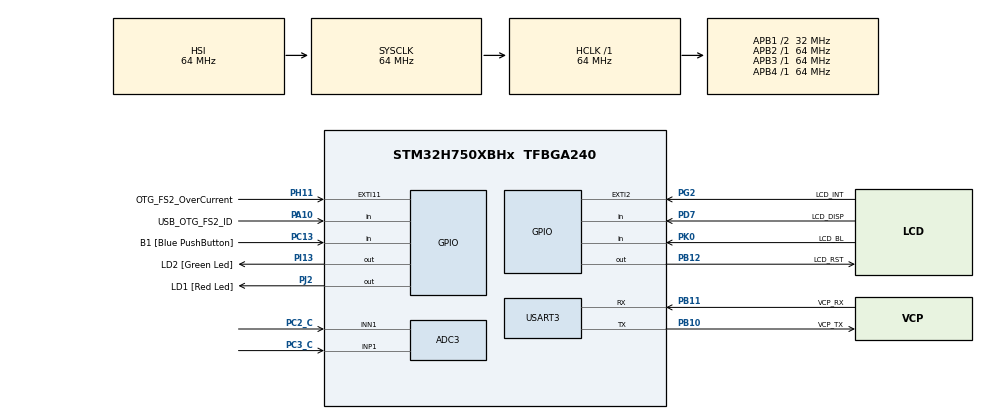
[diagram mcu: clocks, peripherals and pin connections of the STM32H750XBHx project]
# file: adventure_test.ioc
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ADC3.Channel-0\#ChannelRegularConversion=ADC_CHANNEL_1
ADC3.NbrOfConversionFlag=1
ADC3.OffsetNumber-0\#ChannelRegularConversion=ADC_OFFSET_NONE
ADC3.Rank-0\#ChannelRegularConversion=1
ADC3.SamplingTime-0\#ChannelRegularConversion=ADC_SAMPLETIME_1CYCLE_5
ADC3.SingleDiff-0\#ChannelRegularConversion=ADC_DIFFERENTIAL_ENDED
Mcu.Family=STM32H7
Mcu.Name=STM32H750XBHx
Mcu.Package=TFBGA240
NVIC.PriorityGroup=NVIC_PRIORITYGROUP_4
PA0_C.Signal=ADCx_INP0
PA1.GPIO_Label=MII_RX_CLK
PA1.Signal=ETH_RX_CLK
PA10.GPIO_Label=USB_OTG_FS2_ID
PA10.Signal=GPIO_Input
PA11.GPIO_Label=USB_OTG_FS2_N
PA11.Signal=USB_OTG_FS_DM
PA12.GPIO_Label=USB_OTG_FS2_P
PA12.Signal=USB_OTG_FS_DP
PA1_C.Signal=ADCx_INP1
PA2.GPIO_Label=MII_MDIO
PA2.Signal=ETH_MDIO
PA6.Signal=S_TIM13_CH1
PA7.GPIO_Label=MII_RX_DV
PA7.Signal=ETH_RX_DV
PA8.Signal=S_TIM1_CH1
PA9.GPIO_Label=VBUS_FS2
PA9.Signal=USB_OTG_FS_VBUS
PB0.GPIO_Label=MII_RX_D2
PB0.Signal=ETH_RXD2
PB1.GPIO_Label=MII_RX_D3
PB1.Signal=ETH_RXD3
PB10.GPIO_Label=VCP_TX
PB10.Mode=Asynchronous
PB10.Signal=USART3_TX
PB11.GPIO_Label=VCP_RX
PB11.Mode=Asynchronous
PB11.Signal=USART3_RX
PB12.GPIO_Label=LCD_RST
PB12.Signal=GPIO_Output
PB13.GPIO_Label=FDCAN2_TX
PB13.Signal=FDCAN2_TX
PB15.Signal=SPI2_MOSI
PB4\ (NJTRST).Signal=SPI2_NSS
PB5.GPIO_Label=FDCAN2_RX
PB5.Signal=FDCAN2_RX
PB6.Signal=QUADSPI_BK1_NCS
PB8.GPIO_Label=SDIO1_D4
PB8.Signal=SDMMC1_D4
PB9.GPIO_Label=SDIO1_D5
PB9.Signal=SDMMC1_D5
PC0.Signal=ADCx_INP10
PC1.GPIO_Label=MII_MDC
PC1.Signal=ETH_MDC
PC10.GPIO_Label=SDIO1_D2
PC10.Signal=SDMMC1_D2
PC11.GPIO_Label=SDIO1_D3
PC11.Signal=SDMMC1_D3
PC12.GPIO_Label=SDIO1_CK
PC12.Signal=SDMMC1_CK
PC13.GPIO_Label=B1 [Blue PushButton]
PC13.Signal=GPIO_Input
PC14-OSC32_IN\ (OSC32_IN).GPIO_Label=OSC32_IN
PC14-OSC32_IN\ (OSC32_IN).Mode=LSE-External-Clock-Source
PC14-OSC32_IN\ (OSC32_IN).Signal=RCC_OSC32_IN
PC15-OSC32_OUT\ (OSC32_OUT).GPIO_Label=OSC32_OUT
PC15-OSC32_OUT\ (OSC32_OUT).Signal=RCC_OSC32_OUT
PC2.GPIO_Label=MII_TXD2
PC2.Signal=ETH_TXD2
PC2_C.Signal=SharedAnalog_PC2
PC3.GPIO_Label=MII_TX_CLK
PC3.Signal=ETH_TX_CLK
PC3_C.Mode=IN1-Differential
PC3_C.Signal=ADC3_INP1
PC4.GPIO_Label=MII_RXD0
PC4.Signal=ETH_RXD0
PC5.GPIO_Label=MII_RXD1
PC5.Signal=ETH_RXD1
PC6.GPIO_Label=SDIO1_D6
PC6.Signal=SDMMC1_D6
PC7.GPIO_Label=SDIO1_D7
PC7.Signal=SDMMC1_D7
PC8.GPIO_Label=SDIO1_D0
PC8.Signal=SDMMC1_D0
PC9.GPIO_Label=SDIO1_D1
PC9.Signal=SDMMC1_D1
PD0.Signal=FMC_D2_DA2
PD1.Signal=FMC_D3_DA3
PD10.Signal=FMC_D15_DA15
PD11.Signal=QUADSPI_BK1_IO0
PD14.Signal=FMC_D0_DA0
PD15.Signal=FMC_D1_DA1
PD2.GPIO_Label=SDIO1_CMD
PD2.Signal=SDMMC1_CMD
PD3.Signal=SPI2_SCK
PD7.GPIO_Label=LCD_DISP
PD7.Signal=GPIO_Input
PD8.Signal=FMC_D13_DA13
PD9.Signal=FMC_D14_DA14
PE0.Signal=FMC_NBL0
PE1.Signal=FMC_NBL1
PE10.Signal=FMC_D7_DA7
PE11.Signal=FMC_D8_DA8
PE12.Signal=FMC_D9_DA9
PE13.Signal=FMC_D10_DA10
PE14.Signal=FMC_D11_DA11
PE15.Signal=FMC_D12_DA12
PE2.GPIO_Label=MII_TXD3
PE2.Signal=ETH_TXD3
PE4.Signal=SAI4_D2
PE5.Signal=SAI4_CK2
PE7.Signal=FMC_D4_DA4
PE8.Signal=FMC_D5_DA5
PE9.Signal=FMC_D6_DA6
PF0.Signal=FMC_A0
PF1.Signal=FMC_A1
PF10.Signal=QUADSPI_CLK
PF11.Signal=FMC_SDNRAS
PF12.Signal=FMC_A6
PF13.Signal=FMC_A7
PF14.Signal=FMC_A8
PF15.Signal=FMC_A9
PF2.Signal=FMC_A2
PF3.Signal=FMC_A3
PF4.Signal=FMC_A4
PF5.Signal=FMC_A5
PF6.Signal=QUADSPI_BK1_IO3
PF7.Signal=QUADSPI_BK1_IO2
PF8.Signal=ADC3_INP7
PF9.Signal=QUADSPI_BK1_IO1
PG0.Signal=FMC_A10
PG1.Signal=FMC_A11
PG10.Signal=SAI2_SD_B
PG11.GPIO_Label=MII_TX_EN
PG11.Signal=ETH_TX_EN
PG12.GPIO_Label=MII_TXD1
PG12.Signal=ETH_TXD1
PG13.GPIO_Label=MII_TXD0
PG13.Signal=ETH_TXD0
PG15.Signal=FMC_SDNCAS
PG2.GPIO_Label=LCD_INT
PG2.Signal=GPXTI2
PG4.Signal=FMC_A14_BA0
PG5.Signal=FMC_A15_BA1
PG8.Signal=FMC_SDCLK
PH0-OSC_IN\ (PH0).GPIO_Label=OSC_IN
PH0-OSC_IN\ (PH0).Mode=HSE-External-Clock-Source
PH0-OSC_IN\ (PH0).Signal=RCC_OSC_IN
PH1-OSC_OUT\ (PH1).GPIO_Label=OSC_OUT
PH1-OSC_OUT\ (PH1).Signal=RCC_OSC_OUT
PH11.GPIO_Label=OTG_FS2_OverCurrent
PH11.Signal=GPXTI11
PH13.GPIO_Label=FDCAN1_TX
PH13.Signal=FDCAN1_TX
PH14.GPIO_Label=FDCAN1_RX
PH14.Signal=FDCAN1_RX
PH15.Signal=TIM8_CH3N
PH2.GPIO_Label=MII_CRS
PH2.Signal=ETH_CRS
PH3.GPIO_Label=MII_COL
PH3.Signal=ETH_COL
PH5.Signal=FMC_SDNWE
PH6.Signal=FMC_SDNE1
PH7.Signal=FMC_SDCKE1
PH9.Signal=LTDC_R3
PI0.Signal=LTDC_G5
PI1.Signal=LTDC_G6
PI10.GPIO_Label=MII_RX_ER
PI10.Signal=ETH_RX_ER
PI12.Signal=LTDC_HSYNC
PI13.GPIO_Label=LD2 [Green Led]
PI13.Signal=GPIO_Output
PI14.Signal=LTDC_CLK
PI15.Signal=LTDC_R0
PI2.Signal=SPI2_MISO
PI4.Signal=SAI2_MCLK_A
PI5.Signal=SAI2_SCK_A
PI6.Signal=SAI2_SD_A
PI7.Signal=SAI2_FS_A
PI9.Signal=LTDC_VSYNC
PJ0.Signal=LTDC_R1
PJ1.Signal=LTDC_R2
PJ10.Signal=LTDC_G3
PJ11.Signal=LTDC_G4
PJ12.Signal=LTDC_B0
PJ13.Signal=LTDC_B1
PJ14.Signal=LTDC_B2
PJ15.GPIO_Label=LCD_DISP
PJ15.Signal=LTDC_B3
PJ2.GPIO_Label=LD1 [Red Led]
PJ2.Signal=GPIO_Output
PJ3.Signal=LTDC_R4
PJ4.Signal=LTDC_R5
PJ5.Signal=LTDC_R6
PJ6.Signal=LTDC_R7
PJ7.Signal=LTDC_G0
PJ8.Signal=LTDC_G1
PJ9.Signal=LTDC_G2
PK0.GPIO_Label=LCD_BL
PK0.Signal=GPIO_Input
PK2.Signal=LTDC_G7
PK3.Signal=LTDC_B4
PK4.Signal=LTDC_B5
PK5.Signal=LTDC_B6
PK6.Signal=LTDC_B7
PK7.Signal=LTDC_DE
ProjectManager.HeapSize=0x200
ProjectManager.StackSize=0x400
ProjectManager.TargetToolchain=STM32CubeIDE
RCC.ADCFreq_Value=37500000
RCC.APB1Freq_Value=32000000
RCC.APB2Freq_Value=64000000
RCC.APB3Freq_Value=64000000
RCC.APB4Freq_Value=64000000
RCC.CortexFreq_Value=64000000
RCC.D2PPRE1=RCC_APB1_DIV2
RCC.DIVM1=22
RCC.DIVM2=2
RCC.DIVN1=169
RCC.DIVN2=12
RCC.DIVP2=4
RCC.DIVQ1=4
RCC.HCLKFreq_Value=64000000
RCC.PLL2FRACN=0
RCC.PLL3FRACN=0
RCC.PLLFRACN=0
RCC.PLLSourceVirtual=RCC_PLLSOURCE_HSE
RCC.SYSCLKFreq_VALUE=64000000
RCC.USBFreq_Value=48011363.63636364
SH.ADCx_INP0.0=ADC1_INP0
SH.ADCx_INP0.1=ADC2_INP0
SH.ADCx_INP1.0=ADC1_INP1
SH.ADCx_INP1.1=ADC2_INP1
SH.ADCx_INP10.0=ADC1_INP10
SH.ADCx_INP10.1=ADC3_INP10
SH.FMC_A0.0=FMC_A0
SH.FMC_A1.0=FMC_A1
SH.FMC_A10.0=FMC_A10
SH.FMC_A11.0=FMC_A11
SH.FMC_A14_BA0.0=FMC_BA0
SH.FMC_A15_BA1.0=FMC_BA1
SH.FMC_A2.0=FMC_A2
SH.FMC_A3.0=FMC_A3
SH.FMC_A4.0=FMC_A4
SH.FMC_A5.0=FMC_A5
SH.FMC_A6.0=FMC_A6
SH.FMC_A7.0=FMC_A7
SH.FMC_A8.0=FMC_A8
SH.FMC_A9.0=FMC_A9
SH.FMC_D0_DA0.0=FMC_D0
SH.FMC_D10_DA10.0=FMC_D10
SH.FMC_D11_DA11.0=FMC_D11
SH.FMC_D12_DA12.0=FMC_D12
SH.FMC_D13_DA13.0=FMC_D13
SH.FMC_D14_DA14.0=FMC_D14
SH.FMC_D15_DA15.0=FMC_D15
SH.FMC_D1_DA1.0=FMC_D1
SH.FMC_D2_DA2.0=FMC_D2
SH.FMC_D3_DA3.0=FMC_D3
SH.FMC_D4_DA4.0=FMC_D4
SH.FMC_D5_DA5.0=FMC_D5
SH.FMC_D6_DA6.0=FMC_D6
SH.FMC_D7_DA7.0=FMC_D7
SH.FMC_D8_DA8.0=FMC_D8
SH.FMC_D9_DA9.0=FMC_D9
SH.FMC_NBL0.0=FMC_NBL0
SH.FMC_NBL1.0=FMC_NBL1
SH.FMC_SDCLK.0=FMC_SDCLK
SH.FMC_SDNCAS.0=FMC_SDNCAS
SH.FMC_SDNRAS.0=FMC_SDNRAS
SH.FMC_SDNWE.0=FMC_SDNWE
SH.S_TIM13_CH1.0=TIM13_CH1
SH.S_TIM1_CH1.0=TIM1_CH1
SH.SharedAnalog_PC2.0=ADC3_INP0
SH.SharedAnalog_PC2.1=ADC3_INN1,IN1-Differential
USART3.VirtualMode-Asynchronous=VM_ASYNC
board=STM32H750B-DK

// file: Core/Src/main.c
/* USER CODE BEGIN Header */
/**
  ******************************************************************************
  * @file           : main.c
  * @brief          : Main program body
  ******************************************************************************
  * @attention
  *
  * Copyright (c) 2024 STMicroelectronics.
  * All rights reserved.
  *
  * This software is licensed under terms that can be found in the LICENSE file
  * in the root directory of this software component.
  * If no LICENSE file comes with this software, it is provided AS-IS.
  *
  ******************************************************************************
  */
/* USER CODE END Header */
#include "main.h"

/* USER CODE BEGIN Includes */
#include <stdio.h>
#include <string.h>

/* USER CODE END Includes */

/* USER CODE BEGIN PD */

// Définition des constantes pour les directions
#define NORTH 1
#define EAST  2
#define SOUTH 4
#define WEST  8

/* USER CODE END PD */

ADC_HandleTypeDef hadc3;

UART_HandleTypeDef huart3;

void SystemClock_Config(void);
static void MX_GPIO_Init(void);
static void MX_ADC3_Init(void);
static void MX_USART3_UART_Init(void);
/* USER CODE BEGIN PFP */
void command_callback(char *);

/* USER CODE END PFP */

/* USER CODE BEGIN 0 */

// Initialisation de la position de départ
int ligne = 0;
int colonne = 3;

// Initialisation de la grille et des valeurs associées
int grille[5][8] = {
    {0, SOUTH, WEST | SOUTH, SOUTH, 0, SOUTH | EAST, EAST | WEST | SOUTH, WEST | SOUTH}, // Ok
    {SOUTH | EAST , WEST | EAST, NORTH | SOUTH | WEST | EAST, SOUTH | EAST | NORTH, SOUTH, NORTH | SOUTH | EAST, NORTH | WEST |EAST, SOUTH},
    {SOUTH, EAST | NORTH, WEST | NORTH | SOUTH, SOUTH | EAST | NORTH, NORTH | SOUTH | WEST | EAST, NORTH | WEST, NORTH | SOUTH, NORTH | SOUTH},
    {SOUTH | EAST | NORTH, EAST | NORTH | WEST, NORTH | EAST | SOUTH, SOUTH | WEST, SOUTH | EAST | WEST, NORTH | SOUTH | WEST, NORTH | SOUTH | WEST, NORTH | SOUTH},
    {NORTH | EAST, WEST, NORTH | WEST, NORTH | EAST, NORTH | EAST | WEST, NORTH | EAST | WEST, NORTH | EAST, NORTH | WEST}
};

char valeurs[5][8] = {
    {'_', 'v', 'b', '_', '_', 'n', '#', 'e'},
    {'u', 't', 'x', 'a', 'z', 'r', 'y', 'i'},
    {'o', 'p', 'l', 'q', '2', 'f', '0', '6'},
    {'9', '8', '1', 's', '3', 'g', '5', '7'},
    {'w', 'm', 'j', 'd', 'c', 'h', 'k', '4'}
};

char str[64] = "\0"; //pour construir des chaînes de char à envoyer
int compteur_temp = 0;
char chaine_temporaire[64] = "\0"; //la chaine temporaire qui va etre construite au fur et a mesure de la sequence

char buffer[32] = "\0";
char car;

// Fonction pour interpreter une actions
void command_callback(char* action) {
	HAL_UART_Transmit(&huart3, (uint8_t *)action, strlen(action), HAL_MAX_DELAY);
    if (strcmp(*action, 'g') == 0) {
        action += 3;
		if (*action == 'n') {
				if ((grille[ligne][colonne] & NORTH) > 0 ) {
					ligne--;
				//	sprintf(str,"moove North\n");
				//	HAL_UART_Transmit(&huart3, (uint8_t *)str, strlen(str), HAL_MAX_DELAY);
				}
		} else if (*action == 'e') {
				if ((grille[ligne][colonne] & EAST) > 0 ) {
					colonne++;
				//	sprintf(str,"moove East\n");
				//	HAL_UART_Transmit(&huart3, (uint8_t *)str, strlen(str), HAL_MAX_DELAY);
				}
		} else if (*action == 's') {
				if ((grille[ligne][colonne] & SOUTH) > 0 ){
					ligne++;
				//	sprintf(str,"moove South\n");
				//	HAL_UART_Transmit(&huart3, (uint8_t *)str, strlen(str), HAL_MAX_DELAY);
				}
		} else if (*action == 'w') {
				if ((grille[ligne][colonne] & WEST) > 0 ) {
					colonne--;
				//	sprintf(str,"moove West\n");
				//	HAL_UART_Transmit(&huart3, (uint8_t *)str, strlen(str), HAL_MAX_DELAY);
				}
		}
    } else if (*action == 'c') {
        action += 9;
		char c = valeurs[ligne][colonne];
		if (*action == 'i') {
			chaine_temporaire[compteur_temp] = c;
			compteur_temp++;
		//	sprintf(str,"Item collected: %c\n", c);
		//	HAL_UART_Transmit(&huart3, (uint8_t *)str, strlen(str), HAL_MAX_DELAY);

		} else if (*action == 'a') {
			chaine_temporaire[compteur_temp] = toupper(c);
			compteur_temp++;
	//		sprintf(str,"Item collected: %c\n", c);
		//	HAL_UART_Transmit(&huart3, (uint8_t *)str, strlen(str), HAL_MAX_DELAY);
	   // 	sprintf(str,"Chaine temporaire : %s\n", chaine_temporaire);
	   // 	HAL_UART_Transmit(&huart3, (uint8_t *)str, strlen(str), HAL_MAX_DELAY);

		}
    } else if (*action == 'u') {

    //	sprintf(str,"Chaine temporaire avant use : %s\n", chaine_temporaire);
    //	HAL_UART_Transmit(&huart3, (uint8_t *)str, strlen(str), HAL_MAX_DELAY);
    //	sprintf(str,"Chaine finale avant use : %s\n", chaine_final);
   // 	HAL_UART_Transmit(&huart3, (uint8_t *)str, strlen(str), HAL_MAX_DELAY);

    	compteur_temp--;
    	chaine_temporaire[compteur_temp] = '\0';

    //	HAL_UART_Transmit(&huart3, (uint8_t *)str, strlen(str), HAL_MAX_DELAY);
    //	sprintf(str,"Chaine temporaire actuelle : %s\n", chaine_temporaire);
    //	HAL_UART_Transmit(&huart3, (uint8_t *)str, strlen(str), HAL_MAX_DELAY);
   // 	sprintf(str,"Chaine finale actuelle : %s\n", chaine_final);
    ///	HAL_UART_Transmit(&huart3, (uint8_t *)str, strlen(str), HAL_MAX_DELAY);

    } else if (*action == 'd') {

    	HAL_UART_Transmit(&huart3, (uint8_t *)chaine_temporaire, strlen(chaine_temporaire), HAL_MAX_DELAY);

    }
}

/* USER CODE END 0 */

int main(void)
{

  /* MCU Configuration--------------------------------------------------------*/

  /* Reset of all peripherals, Initializes the Flash interface and the Systick. */
  HAL_Init();

  /* Configure the system clock */
  SystemClock_Config();

  /* Initialize all configured peripherals */
  MX_GPIO_Init();
  MX_ADC3_Init();
  MX_USART3_UART_Init();
  /* USER CODE BEGIN 2 */

  //HAL_UART_Transmit(&huart3, (uint8_t *)"Beginning...\n", strlen("Beginning...\n"), HAL_MAX_DELAY);

	sprintf(str,"Beginning...\n");
	HAL_UART_Transmit(&huart3, (uint8_t *)str, strlen(str), HAL_MAX_DELAY);

	memset(buffer, 0, sizeof(buffer));

	int compteur = 0;

  /* USER CODE END 2 */

  /* Infinite loop */
  /* USER CODE BEGIN WHILE */
  while (1)
  {
	if (HAL_UART_Receive(&huart3, (uint8_t *)&car, 1, 100) == HAL_OK){
		//HAL_UART_Transmit(&huart3, (uint8_t *)&car, 1, HAL_MAX_DELAY);
		buffer[compteur] = tolower(car);
		compteur++;
		if (car == '\n' || car == '\r'){
			command_callback(buffer);
			memset(buffer, 0, sizeof(buffer));
			compteur = 0;
		}
	}
    /* USER CODE END WHILE */

  }
}

void SystemClock_Config(void)
{
  RCC_OscInitTypeDef RCC_OscInitStruct = {0};
  RCC_ClkInitTypeDef RCC_ClkInitStruct = {0};

  /** Supply configuration update enable
  */
  HAL_PWREx_ConfigSupply(PWR_LDO_SUPPLY);

  /** Configure the main internal regulator output voltage
  */
  __HAL_PWR_VOLTAGESCALING_CONFIG(PWR_REGULATOR_VOLTAGE_SCALE3);

  while(!__HAL_PWR_GET_FLAG(PWR_FLAG_VOSRDY)) {}

  /** Macro to configure the PLL clock source
  */
  __HAL_RCC_PLL_PLLSOURCE_CONFIG(RCC_PLLSOURCE_HSE);

  /** Initializes the RCC Oscillators according to the specified parameters
  * in the RCC_OscInitTypeDef structure.
  */
  RCC_OscInitStruct.OscillatorType = RCC_OSCILLATORTYPE_HSI|RCC_OSCILLATORTYPE_HSE;
  RCC_OscInitStruct.HSEState = RCC_HSE_BYPASS;
  RCC_OscInitStruct.HSIState = RCC_HSI_DIV1;
  RCC_OscInitStruct.HSICalibrationValue = RCC_HSICALIBRATION_DEFAULT;
  RCC_OscInitStruct.PLL.PLLState = RCC_PLL_NONE;
  if (HAL_RCC_OscConfig(&RCC_OscInitStruct) != HAL_OK)
  {
    Error_Handler();
  }

  /** Initializes the CPU, AHB and APB buses clocks
  */
  RCC_ClkInitStruct.ClockType = RCC_CLOCKTYPE_HCLK|RCC_CLOCKTYPE_SYSCLK
                              |RCC_CLOCKTYPE_PCLK1|RCC_CLOCKTYPE_PCLK2
                              |RCC_CLOCKTYPE_D3PCLK1|RCC_CLOCKTYPE_D1PCLK1;
  RCC_ClkInitStruct.SYSCLKSource = RCC_SYSCLKSOURCE_HSI;
  RCC_ClkInitStruct.SYSCLKDivider = RCC_SYSCLK_DIV1;
  RCC_ClkInitStruct.AHBCLKDivider = RCC_HCLK_DIV1;
  RCC_ClkInitStruct.APB3CLKDivider = RCC_APB3_DIV1;
  RCC_ClkInitStruct.APB1CLKDivider = RCC_APB1_DIV2;
  RCC_ClkInitStruct.APB2CLKDivider = RCC_APB2_DIV1;
  RCC_ClkInitStruct.APB4CLKDivider = RCC_APB4_DIV1;

  if (HAL_RCC_ClockConfig(&RCC_ClkInitStruct, FLASH_LATENCY_1) != HAL_OK)
  {
    Error_Handler();
  }
}

static void MX_ADC3_Init(void)
{

  ADC_ChannelConfTypeDef sConfig = {0};

  /** Common config
  */
  hadc3.Instance = ADC3;
  hadc3.Init.Resolution = ADC_RESOLUTION_16B;
  hadc3.Init.ScanConvMode = ADC_SCAN_DISABLE;
  hadc3.Init.EOCSelection = ADC_EOC_SINGLE_CONV;
  hadc3.Init.LowPowerAutoWait = DISABLE;
  hadc3.Init.ContinuousConvMode = DISABLE;
  hadc3.Init.NbrOfConversion = 1;
  hadc3.Init.DiscontinuousConvMode = DISABLE;
  hadc3.Init.ExternalTrigConv = ADC_SOFTWARE_START;
  hadc3.Init.ExternalTrigConvEdge = ADC_EXTERNALTRIGCONVEDGE_NONE;
  hadc3.Init.ConversionDataManagement = ADC_CONVERSIONDATA_DR;
  hadc3.Init.Overrun = ADC_OVR_DATA_PRESERVED;
  hadc3.Init.LeftBitShift = ADC_LEFTBITSHIFT_NONE;
  hadc3.Init.OversamplingMode = DISABLE;
  if (HAL_ADC_Init(&hadc3) != HAL_OK)
  {
    Error_Handler();
  }

  /** Configure Regular Channel
  */
  sConfig.Channel = ADC_CHANNEL_1;
  sConfig.Rank = ADC_REGULAR_RANK_1;
  sConfig.SamplingTime = ADC_SAMPLETIME_1CYCLE_5;
  sConfig.SingleDiff = ADC_DIFFERENTIAL_ENDED;
  sConfig.OffsetNumber = ADC_OFFSET_NONE;
  sConfig.Offset = 0;
  sConfig.OffsetSignedSaturation = DISABLE;
  if (HAL_ADC_ConfigChannel(&hadc3, &sConfig) != HAL_OK)
  {
    Error_Handler();
  }

}

static void MX_USART3_UART_Init(void)
{

  huart3.Instance = USART3;
  huart3.Init.BaudRate = 115200;
  huart3.Init.WordLength = UART_WORDLENGTH_8B;
  huart3.Init.StopBits = UART_STOPBITS_1;
  huart3.Init.Parity = UART_PARITY_NONE;
  huart3.Init.Mode = UART_MODE_TX_RX;
  huart3.Init.HwFlowCtl = UART_HWCONTROL_NONE;
  huart3.Init.OverSampling = UART_OVERSAMPLING_16;
  huart3.Init.OneBitSampling = UART_ONE_BIT_SAMPLE_DISABLE;
  huart3.Init.ClockPrescaler = UART_PRESCALER_DIV1;
  huart3.AdvancedInit.AdvFeatureInit = UART_ADVFEATURE_NO_INIT;
  if (HAL_UART_Init(&huart3) != HAL_OK)
  {
    Error_Handler();
  }
  if (HAL_UARTEx_SetTxFifoThreshold(&huart3, UART_TXFIFO_THRESHOLD_1_8) != HAL_OK)
  {
    Error_Handler();
  }
  if (HAL_UARTEx_SetRxFifoThreshold(&huart3, UART_RXFIFO_THRESHOLD_1_8) != HAL_OK)
  {
    Error_Handler();
  }
  if (HAL_UARTEx_DisableFifoMode(&huart3) != HAL_OK)
  {
    Error_Handler();
  }

}

static void MX_GPIO_Init(void)
{
  GPIO_InitTypeDef GPIO_InitStruct = {0};

  /* GPIO Ports Clock Enable */
  __HAL_RCC_GPIOI_CLK_ENABLE();
  __HAL_RCC_GPIOB_CLK_ENABLE();
  __HAL_RCC_GPIOK_CLK_ENABLE();
  __HAL_RCC_GPIOG_CLK_ENABLE();
  __HAL_RCC_GPIOC_CLK_ENABLE();
  __HAL_RCC_GPIOE_CLK_ENABLE();
  __HAL_RCC_GPIOJ_CLK_ENABLE();
  __HAL_RCC_GPIOD_CLK_ENABLE();
  __HAL_RCC_GPIOH_CLK_ENABLE();
  __HAL_RCC_GPIOA_CLK_ENABLE();
  __HAL_RCC_GPIOF_CLK_ENABLE();

  /*Configure GPIO pin Output Level */
  HAL_GPIO_WritePin(LD2_GPIO_Port, LD2_Pin, GPIO_PIN_RESET);

  /*Configure GPIO pin Output Level */
  HAL_GPIO_WritePin(LD1_GPIO_Port, LD1_Pin, GPIO_PIN_RESET);

  /*Configure GPIO pin Output Level */
  HAL_GPIO_WritePin(LCD_RST_GPIO_Port, LCD_RST_Pin, GPIO_PIN_RESET);

  /*Configure GPIO pins : PI6 PI5 PI4 PI7 */
  GPIO_InitStruct.Pin = GPIO_PIN_6|GPIO_PIN_5|GPIO_PIN_4|GPIO_PIN_7;
  GPIO_InitStruct.Mode = GPIO_MODE_AF_PP;
  GPIO_InitStruct.Pull = GPIO_NOPULL;
  GPIO_InitStruct.Speed = GPIO_SPEED_FREQ_LOW;
  GPIO_InitStruct.Alternate = GPIO_AF10_SAI2;
  HAL_GPIO_Init(GPIOI, &GPIO_InitStruct);

  /*Configure GPIO pins : FDCAN2_RX_Pin FDCAN2_TX_Pin */
  GPIO_InitStruct.Pin = FDCAN2_RX_Pin|FDCAN2_TX_Pin;
  GPIO_InitStruct.Mode = GPIO_MODE_AF_PP;
  GPIO_InitStruct.Pull = GPIO_NOPULL;
  GPIO_InitStruct.Speed = GPIO_SPEED_FREQ_LOW;
  GPIO_InitStruct.Alternate = GPIO_AF9_FDCAN2;
  HAL_GPIO_Init(GPIOB, &GPIO_InitStruct);

  /*Configure GPIO pins : PK5 PK4 PK6 PK3
                           PK7 PK2 */
  GPIO_InitStruct.Pin = GPIO_PIN_5|GPIO_PIN_4|GPIO_PIN_6|GPIO_PIN_3
                          |GPIO_PIN_7|GPIO_PIN_2;
  GPIO_InitStruct.Mode = GPIO_MODE_AF_PP;
  GPIO_InitStruct.Pull = GPIO_NOPULL;
  GPIO_InitStruct.Speed = GPIO_SPEED_FREQ_LOW;
  GPIO_InitStruct.Alternate = GPIO_AF14_LTDC;
  HAL_GPIO_Init(GPIOK, &GPIO_InitStruct);

  /*Configure GPIO pin : PG10 */
  GPIO_InitStruct.Pin = GPIO_PIN_10;
  GPIO_InitStruct.Mode = GPIO_MODE_AF_PP;
  GPIO_InitStruct.Pull = GPIO_NOPULL;
  GPIO_InitStruct.Speed = GPIO_SPEED_FREQ_LOW;
  GPIO_InitStruct.Alternate = GPIO_AF10_SAI2;
  HAL_GPIO_Init(GPIOG, &GPIO_InitStruct);

  /*Configure GPIO pins : SDIO1_D2_Pin SDIO1_D3_Pin SDIO1_CK_Pin SDIO1_D0_Pin
                           SDIO1_D1_Pin SDIO1_D7_Pin SDIO1_D6_Pin */
  GPIO_InitStruct.Pin = SDIO1_D2_Pin|SDIO1_D3_Pin|SDIO1_CK_Pin|SDIO1_D0_Pin
                          |SDIO1_D1_Pin|SDIO1_D7_Pin|SDIO1_D6_Pin;
  GPIO_InitStruct.Mode = GPIO_MODE_AF_PP;
  GPIO_InitStruct.Pull = GPIO_NOPULL;
  GPIO_InitStruct.Speed = GPIO_SPEED_FREQ_VERY_HIGH;
  GPIO_InitStruct.Alternate = GPIO_AF12_SDIO1;
  HAL_GPIO_Init(GPIOC, &GPIO_InitStruct);

  /*Configure GPIO pins : PI1 PI0 PI9 PI12
                           PI14 PI15 */
  GPIO_InitStruct.Pin = GPIO_PIN_1|GPIO_PIN_0|GPIO_PIN_9|GPIO_PIN_12
                          |GPIO_PIN_14|GPIO_PIN_15;
  GPIO_InitStruct.Mode = GPIO_MODE_AF_PP;
  GPIO_InitStruct.Pull = GPIO_NOPULL;
  GPIO_InitStruct.Speed = GPIO_SPEED_FREQ_LOW;
  GPIO_InitStruct.Alternate = GPIO_AF14_LTDC;
  HAL_GPIO_Init(GPIOI, &GPIO_InitStruct);

  /*Configure GPIO pins : PE1 PE0 PE10 PE9
                           PE11 PE12 PE15 PE8
                           PE13 PE7 PE14 */
  GPIO_InitStruct.Pin = GPIO_PIN_1|GPIO_PIN_0|GPIO_PIN_10|GPIO_PIN_9
                          |GPIO_PIN_11|GPIO_PIN_12|GPIO_PIN_15|GPIO_PIN_8
                          |GPIO_PIN_13|GPIO_PIN_7|GPIO_PIN_14;
  GPIO_InitStruct.Mode = GPIO_MODE_AF_PP;
  GPIO_InitStruct.Pull = GPIO_NOPULL;
  GPIO_InitStruct.Speed = GPIO_SPEED_FREQ_VERY_HIGH;
  GPIO_InitStruct.Alternate = GPIO_AF12_FMC;
  HAL_GPIO_Init(GPIOE, &GPIO_InitStruct);

  /*Configure GPIO pin : PB6 */
  GPIO_InitStruct.Pin = GPIO_PIN_6;
  GPIO_InitStruct.Mode = GPIO_MODE_AF_PP;
  GPIO_InitStruct.Pull = GPIO_NOPULL;
  GPIO_InitStruct.Speed = GPIO_SPEED_FREQ_LOW;
  GPIO_InitStruct.Alternate = GPIO_AF10_QUADSPI;
  HAL_GPIO_Init(GPIOB, &GPIO_InitStruct);

  /*Configure GPIO pin : PB4 */
  GPIO_InitStruct.Pin = GPIO_PIN_4;
  GPIO_InitStruct.Mode = GPIO_MODE_AF_PP;
  GPIO_InitStruct.Pull = GPIO_NOPULL;
  GPIO_InitStruct.Speed = GPIO_SPEED_FREQ_LOW;
  GPIO_InitStruct.Alternate = GPIO_AF7_SPI2;
  HAL_GPIO_Init(GPIOB, &GPIO_InitStruct);

  /*Configure GPIO pins : MII_TX_EN_Pin MII_TXD1_Pin MII_TXD0_Pin */
  GPIO_InitStruct.Pin = MII_TX_EN_Pin|MII_TXD1_Pin|MII_TXD0_Pin;
  GPIO_InitStruct.Mode = GPIO_MODE_AF_PP;
  GPIO_InitStruct.Pull = GPIO_NOPULL;
  GPIO_InitStruct.Speed = GPIO_SPEED_FREQ_LOW;
  GPIO_InitStruct.Alternate = GPIO_AF11_ETH;
  HAL_GPIO_Init(GPIOG, &GPIO_InitStruct);

  /*Configure GPIO pins : LCD_DISP_Pin PJ14 PJ12 PJ13
                           PJ11 PJ10 PJ9 PJ0
                           PJ8 PJ7 PJ6 PJ1
                           PJ5 PJ3 PJ4 */
  GPIO_InitStruct.Pin = LCD_DISP_Pin|GPIO_PIN_14|GPIO_PIN_12|GPIO_PIN_13
                          |GPIO_PIN_11|GPIO_PIN_10|GPIO_PIN_9|GPIO_PIN_0
                          |GPIO_PIN_8|GPIO_PIN_7|GPIO_PIN_6|GPIO_PIN_1
                          |GPIO_PIN_5|GPIO_PIN_3|GPIO_PIN_4;
  GPIO_InitStruct.Mode = GPIO_MODE_AF_PP;
  GPIO_InitStruct.Pull = GPIO_NOPULL;
  GPIO_InitStruct.Speed = GPIO_SPEED_FREQ_LOW;
  GPIO_InitStruct.Alternate = GPIO_AF14_LTDC;
  HAL_GPIO_Init(GPIOJ, &GPIO_InitStruct);

  /*Configure GPIO pin : PD3 */
  GPIO_InitStruct.Pin = GPIO_PIN_3;
  GPIO_InitStruct.Mode = GPIO_MODE_AF_PP;
  GPIO_InitStruct.Pull = GPIO_NOPULL;
  GPIO_InitStruct.Speed = GPIO_SPEED_FREQ_LOW;
  GPIO_InitStruct.Alternate = GPIO_AF5_SPI2;
  HAL_GPIO_Init(GPIOD, &GPIO_InitStruct);

  /*Configure GPIO pin : PI2 */
  GPIO_InitStruct.Pin = GPIO_PIN_2;
  GPIO_InitStruct.Mode = GPIO_MODE_AF_PP;
  GPIO_InitStruct.Pull = GPIO_NOPULL;
  GPIO_InitStruct.Speed = GPIO_SPEED_FREQ_LOW;
  GPIO_InitStruct.Alternate = GPIO_AF5_SPI2;
  HAL_GPIO_Init(GPIOI, &GPIO_InitStruct);

  /*Configure GPIO pin : PH15 */
  GPIO_InitStruct.Pin = GPIO_PIN_15;
  GPIO_InitStruct.Mode = GPIO_MODE_AF_PP;
  GPIO_InitStruct.Pull = GPIO_NOPULL;
  GPIO_InitStruct.Speed = GPIO_SPEED_FREQ_LOW;
  GPIO_InitStruct.Alternate = GPIO_AF3_TIM8;
  HAL_GPIO_Init(GPIOH, &GPIO_InitStruct);

  /*Configure GPIO pins : FDCAN1_RX_Pin FDCAN1_TX_Pin */
  GPIO_InitStruct.Pin = FDCAN1_RX_Pin|FDCAN1_TX_Pin;
  GPIO_InitStruct.Mode = GPIO_MODE_AF_PP;
  GPIO_InitStruct.Pull = GPIO_NOPULL;
  GPIO_InitStruct.Speed = GPIO_SPEED_FREQ_LOW;
  GPIO_InitStruct.Alternate = GPIO_AF9_FDCAN1;
  HAL_GPIO_Init(GPIOH, &GPIO_InitStruct);

  /*Configure GPIO pin : MII_TXD3_Pin */
  GPIO_InitStruct.Pin = MII_TXD3_Pin;
  GPIO_InitStruct.Mode = GPIO_MODE_AF_PP;
  GPIO_InitStruct.Pull = GPIO_NOPULL;
  GPIO_InitStruct.Speed = GPIO_SPEED_FREQ_LOW;
  GPIO_InitStruct.Alternate = GPIO_AF11_ETH;
  HAL_GPIO_Init(MII_TXD3_GPIO_Port, &GPIO_InitStruct);

  /*Configure GPIO pin : LCD_DISPD7_Pin */
  GPIO_InitStruct.Pin = LCD_DISPD7_Pin;
  GPIO_InitStruct.Mode = GPIO_MODE_INPUT;
  GPIO_InitStruct.Pull = GPIO_NOPULL;
  HAL_GPIO_Init(LCD_DISPD7_GPIO_Port, &GPIO_InitStruct);

  /*Configure GPIO pins : PE5 PE4 */
  GPIO_InitStruct.Pin = GPIO_PIN_5|GPIO_PIN_4;
  GPIO_InitStruct.Mode = GPIO_MODE_AF_PP;
  GPIO_InitStruct.Pull = GPIO_NOPULL;
  GPIO_InitStruct.Speed = GPIO_SPEED_FREQ_LOW;
  GPIO_InitStruct.Alternate = GPIO_AF10_SAI4;
  HAL_GPIO_Init(GPIOE, &GPIO_InitStruct);

  /*Configure GPIO pins : SDIO1_D5_Pin SDIO1_D4_Pin */
  GPIO_InitStruct.Pin = SDIO1_D5_Pin|SDIO1_D4_Pin;
  GPIO_InitStruct.Mode = GPIO_MODE_AF_PP;
  GPIO_InitStruct.Pull = GPIO_NOPULL;
  GPIO_InitStruct.Speed = GPIO_SPEED_FREQ_VERY_HIGH;
  GPIO_InitStruct.Alternate = GPIO_AF12_SDIO1;
  HAL_GPIO_Init(GPIOB, &GPIO_InitStruct);

  /*Configure GPIO pins : PG15 PG8 PG5 PG4
                           PG0 PG1 */
  GPIO_InitStruct.Pin = GPIO_PIN_15|GPIO_PIN_8|GPIO_PIN_5|GPIO_PIN_4
                          |GPIO_PIN_0|GPIO_PIN_1;
  GPIO_InitStruct.Mode = GPIO_MODE_AF_PP;
  GPIO_InitStruct.Pull = GPIO_NOPULL;
  GPIO_InitStruct.Speed = GPIO_SPEED_FREQ_VERY_HIGH;
  GPIO_InitStruct.Alternate = GPIO_AF12_FMC;
  HAL_GPIO_Init(GPIOG, &GPIO_InitStruct);

  /*Configure GPIO pin : SDIO1_CMD_Pin */
  GPIO_InitStruct.Pin = SDIO1_CMD_Pin;
  GPIO_InitStruct.Mode = GPIO_MODE_AF_PP;
  GPIO_InitStruct.Pull = GPIO_NOPULL;
  GPIO_InitStruct.Speed = GPIO_SPEED_FREQ_VERY_HIGH;
  GPIO_InitStruct.Alternate = GPIO_AF12_SDIO1;
  HAL_GPIO_Init(SDIO1_CMD_GPIO_Port, &GPIO_InitStruct);

  /*Configure GPIO pins : PD0 PD1 PD15 PD14
                           PD10 PD9 PD8 */
  GPIO_InitStruct.Pin = GPIO_PIN_0|GPIO_PIN_1|GPIO_PIN_15|GPIO_PIN_14
                          |GPIO_PIN_10|GPIO_PIN_9|GPIO_PIN_8;
  GPIO_InitStruct.Mode = GPIO_MODE_AF_PP;
  GPIO_InitStruct.Pull = GPIO_NOPULL;
  GPIO_InitStruct.Speed = GPIO_SPEED_FREQ_VERY_HIGH;
  GPIO_InitStruct.Alternate = GPIO_AF12_FMC;
  HAL_GPIO_Init(GPIOD, &GPIO_InitStruct);

  /*Configure GPIO pin : USB_OTG_FS2_ID_Pin */
  GPIO_InitStruct.Pin = USB_OTG_FS2_ID_Pin;
  GPIO_InitStruct.Mode = GPIO_MODE_INPUT;
  GPIO_InitStruct.Pull = GPIO_NOPULL;
  HAL_GPIO_Init(USB_OTG_FS2_ID_GPIO_Port, &GPIO_InitStruct);

  /*Configure GPIO pin : B1_Pin */
  GPIO_InitStruct.Pin = B1_Pin;
  GPIO_InitStruct.Mode = GPIO_MODE_INPUT;
  GPIO_InitStruct.Pull = GPIO_NOPULL;
  HAL_GPIO_Init(B1_GPIO_Port, &GPIO_InitStruct);

  /*Configure GPIO pin : PA8 */
  GPIO_InitStruct.Pin = GPIO_PIN_8;
  GPIO_InitStruct.Mode = GPIO_MODE_AF_PP;
  GPIO_InitStruct.Pull = GPIO_NOPULL;
  GPIO_InitStruct.Speed = GPIO_SPEED_FREQ_LOW;
  GPIO_InitStruct.Alternate = GPIO_AF1_TIM1;
  HAL_GPIO_Init(GPIOA, &GPIO_InitStruct);

  /*Configure GPIO pins : USB_OTG_FS2_P_Pin USB_OTG_FS2_N_Pin */
  GPIO_InitStruct.Pin = USB_OTG_FS2_P_Pin|USB_OTG_FS2_N_Pin;
  GPIO_InitStruct.Mode = GPIO_MODE_AF_PP;
  GPIO_InitStruct.Pull = GPIO_NOPULL;
  GPIO_InitStruct.Speed = GPIO_SPEED_FREQ_LOW;
  GPIO_InitStruct.Alternate = GPIO_AF10_OTG1_FS;
  HAL_GPIO_Init(GPIOA, &GPIO_InitStruct);

  /*Configure GPIO pin : MII_RX_ER_Pin */
  GPIO_InitStruct.Pin = MII_RX_ER_Pin;
  GPIO_InitStruct.Mode = GPIO_MODE_AF_PP;
  GPIO_InitStruct.Pull = GPIO_NOPULL;
  GPIO_InitStruct.Speed = GPIO_SPEED_FREQ_LOW;
  GPIO_InitStruct.Alternate = GPIO_AF11_ETH;
  HAL_GPIO_Init(MII_RX_ER_GPIO_Port, &GPIO_InitStruct);

  /*Configure GPIO pins : PF2 PF1 PF0 PF3
                           PF5 PF4 PF13 PF14
                           PF12 PF15 PF11 */
  GPIO_InitStruct.Pin = GPIO_PIN_2|GPIO_PIN_1|GPIO_PIN_0|GPIO_PIN_3
                          |GPIO_PIN_5|GPIO_PIN_4|GPIO_PIN_13|GPIO_PIN_14
                          |GPIO_PIN_12|GPIO_PIN_15|GPIO_PIN_11;
  GPIO_InitStruct.Mode = GPIO_MODE_AF_PP;
  GPIO_InitStruct.Pull = GPIO_NOPULL;
  GPIO_InitStruct.Speed = GPIO_SPEED_FREQ_VERY_HIGH;
  GPIO_InitStruct.Alternate = GPIO_AF12_FMC;
  HAL_GPIO_Init(GPIOF, &GPIO_InitStruct);

  /*Configure GPIO pin : LD2_Pin */
  GPIO_InitStruct.Pin = LD2_Pin;
  GPIO_InitStruct.Mode = GPIO_MODE_OUTPUT_PP;
  GPIO_InitStruct.Pull = GPIO_NOPULL;
  GPIO_InitStruct.Speed = GPIO_SPEED_FREQ_LOW;
  HAL_GPIO_Init(LD2_GPIO_Port, &GPIO_InitStruct);

  /*Configure GPIO pin : LCD_INT_Pin */
  GPIO_InitStruct.Pin = LCD_INT_Pin;
  GPIO_InitStruct.Mode = GPIO_MODE_IT_RISING;
  GPIO_InitStruct.Pull = GPIO_NOPULL;
  HAL_GPIO_Init(LCD_INT_GPIO_Port, &GPIO_InitStruct);

  /*Configure GPIO pin : LCD_BL_Pin */
  GPIO_InitStruct.Pin = LCD_BL_Pin;
  GPIO_InitStruct.Mode = GPIO_MODE_INPUT;
  GPIO_InitStruct.Pull = GPIO_NOPULL;
  HAL_GPIO_Init(LCD_BL_GPIO_Port, &GPIO_InitStruct);

  /*Configure GPIO pins : PF6 PF7 PF10 */
  GPIO_InitStruct.Pin = GPIO_PIN_6|GPIO_PIN_7|GPIO_PIN_10;
  GPIO_InitStruct.Mode = GPIO_MODE_AF_PP;
  GPIO_InitStruct.Pull = GPIO_NOPULL;
  GPIO_InitStruct.Speed = GPIO_SPEED_FREQ_LOW;
  GPIO_InitStruct.Alternate = GPIO_AF9_QUADSPI;
  HAL_GPIO_Init(GPIOF, &GPIO_InitStruct);

  /*Configure GPIO pin : PC0 */
  GPIO_InitStruct.Pin = GPIO_PIN_0;
  GPIO_InitStruct.Mode = GPIO_MODE_ANALOG;
  GPIO_InitStruct.Pull = GPIO_NOPULL;
  HAL_GPIO_Init(GPIOC, &GPIO_InitStruct);

  /*Configure GPIO pin : PF9 */
  GPIO_InitStruct.Pin = GPIO_PIN_9;
  GPIO_InitStruct.Mode = GPIO_MODE_AF_PP;
  GPIO_InitStruct.Pull = GPIO_NOPULL;
  GPIO_InitStruct.Speed = GPIO_SPEED_FREQ_LOW;
  GPIO_InitStruct.Alternate = GPIO_AF10_QUADSPI;
  HAL_GPIO_Init(GPIOF, &GPIO_InitStruct);

  /*Configure GPIO pins : MII_MDC_Pin MII_TXD2_Pin MII_TX_CLK_Pin MII_RXD0_Pin
                           MII_RXD1_Pin */
  GPIO_InitStruct.Pin = MII_MDC_Pin|MII_TXD2_Pin|MII_TX_CLK_Pin|MII_RXD0_Pin
                          |MII_RXD1_Pin;
  GPIO_InitStruct.Mode = GPIO_MODE_AF_PP;
  GPIO_InitStruct.Pull = GPIO_NOPULL;
  GPIO_InitStruct.Speed = GPIO_SPEED_FREQ_LOW;
  GPIO_InitStruct.Alternate = GPIO_AF11_ETH;
  HAL_GPIO_Init(GPIOC, &GPIO_InitStruct);

  /*Configure GPIO pins : MII_CRS_Pin MII_COL_Pin */
  GPIO_InitStruct.Pin = MII_CRS_Pin|MII_COL_Pin;
  GPIO_InitStruct.Mode = GPIO_MODE_AF_PP;
  GPIO_InitStruct.Pull = GPIO_NOPULL;
  GPIO_InitStruct.Speed = GPIO_SPEED_FREQ_LOW;
  GPIO_InitStruct.Alternate = GPIO_AF11_ETH;
  HAL_GPIO_Init(GPIOH, &GPIO_InitStruct);

  /*Configure GPIO pins : MII_MDIO_Pin MII_RX_CLK_Pin MII_RX_DV_Pin */
  GPIO_InitStruct.Pin = MII_MDIO_Pin|MII_RX_CLK_Pin|MII_RX_DV_Pin;
  GPIO_InitStruct.Mode = GPIO_MODE_AF_PP;
  GPIO_InitStruct.Pull = GPIO_NOPULL;
  GPIO_InitStruct.Speed = GPIO_SPEED_FREQ_LOW;
  GPIO_InitStruct.Alternate = GPIO_AF11_ETH;
  HAL_GPIO_Init(GPIOA, &GPIO_InitStruct);

  /*Configure GPIO pins : PH5 PH6 PH7 */
  GPIO_InitStruct.Pin = GPIO_PIN_5|GPIO_PIN_6|GPIO_PIN_7;
  GPIO_InitStruct.Mode = GPIO_MODE_AF_PP;
  GPIO_InitStruct.Pull = GPIO_NOPULL;
  GPIO_InitStruct.Speed = GPIO_SPEED_FREQ_VERY_HIGH;
  GPIO_InitStruct.Alternate = GPIO_AF12_FMC;
  HAL_GPIO_Init(GPIOH, &GPIO_InitStruct);

  /*Configure GPIO pin : OTG_FS2_OverCurrent_Pin */
  GPIO_InitStruct.Pin = OTG_FS2_OverCurrent_Pin;
  GPIO_InitStruct.Mode = GPIO_MODE_IT_RISING;
  GPIO_InitStruct.Pull = GPIO_NOPULL;
  HAL_GPIO_Init(OTG_FS2_OverCurrent_GPIO_Port, &GPIO_InitStruct);

  /*Configure GPIO pin : PA6 */
  GPIO_InitStruct.Pin = GPIO_PIN_6;
  GPIO_InitStruct.Mode = GPIO_MODE_AF_PP;
  GPIO_InitStruct.Pull = GPIO_NOPULL;
  GPIO_InitStruct.Speed = GPIO_SPEED_FREQ_LOW;
  GPIO_InitStruct.Alternate = GPIO_AF9_TIM13;
  HAL_GPIO_Init(GPIOA, &GPIO_InitStruct);

  /*Configure GPIO pin : PH9 */
  GPIO_InitStruct.Pin = GPIO_PIN_9;
  GPIO_InitStruct.Mode = GPIO_MODE_AF_PP;
  GPIO_InitStruct.Pull = GPIO_NOPULL;
  GPIO_InitStruct.Speed = GPIO_SPEED_FREQ_LOW;
  GPIO_InitStruct.Alternate = GPIO_AF14_LTDC;
  HAL_GPIO_Init(GPIOH, &GPIO_InitStruct);

  /*Configure GPIO pin : PD11 */
  GPIO_InitStruct.Pin = GPIO_PIN_11;
  GPIO_InitStruct.Mode = GPIO_MODE_AF_PP;
  GPIO_InitStruct.Pull = GPIO_NOPULL;
  GPIO_InitStruct.Speed = GPIO_SPEED_FREQ_LOW;
  GPIO_InitStruct.Alternate = GPIO_AF9_QUADSPI;
  HAL_GPIO_Init(GPIOD, &GPIO_InitStruct);

  /*Configure GPIO pins : MII_RX_D3_Pin MII_RX_D2_Pin */
  GPIO_InitStruct.Pin = MII_RX_D3_Pin|MII_RX_D2_Pin;
  GPIO_InitStruct.Mode = GPIO_MODE_AF_PP;
  GPIO_InitStruct.Pull = GPIO_NOPULL;
  GPIO_InitStruct.Speed = GPIO_SPEED_FREQ_LOW;
  GPIO_InitStruct.Alternate = GPIO_AF11_ETH;
  HAL_GPIO_Init(GPIOB, &GPIO_InitStruct);

  /*Configure GPIO pin : LD1_Pin */
  GPIO_InitStruct.Pin = LD1_Pin;
  GPIO_InitStruct.Mode = GPIO_MODE_OUTPUT_PP;
  GPIO_InitStruct.Pull = GPIO_NOPULL;
  GPIO_InitStruct.Speed = GPIO_SPEED_FREQ_LOW;
  HAL_GPIO_Init(LD1_GPIO_Port, &GPIO_InitStruct);

  /*Configure GPIO pin : LCD_RST_Pin */
  GPIO_InitStruct.Pin = LCD_RST_Pin;
  GPIO_InitStruct.Mode = GPIO_MODE_OUTPUT_PP;
  GPIO_InitStruct.Pull = GPIO_NOPULL;
  GPIO_InitStruct.Speed = GPIO_SPEED_FREQ_LOW;
  HAL_GPIO_Init(LCD_RST_GPIO_Port, &GPIO_InitStruct);

  /*Configure GPIO pin : PB15 */
  GPIO_InitStruct.Pin = GPIO_PIN_15;
  GPIO_InitStruct.Mode = GPIO_MODE_AF_PP;
  GPIO_InitStruct.Pull = GPIO_NOPULL;
  GPIO_InitStruct.Speed = GPIO_SPEED_FREQ_LOW;
  GPIO_InitStruct.Alternate = GPIO_AF5_SPI2;
  HAL_GPIO_Init(GPIOB, &GPIO_InitStruct);

  /*AnalogSwitch Config */
  HAL_SYSCFG_AnalogSwitchConfig(SYSCFG_SWITCH_PA0, SYSCFG_SWITCH_PA0_OPEN);

  /*AnalogSwitch Config */
  HAL_SYSCFG_AnalogSwitchConfig(SYSCFG_SWITCH_PA1, SYSCFG_SWITCH_PA1_OPEN);

}

void Error_Handler(void)
{
  __disable_irq();
  while (1)
  {
  }
}
